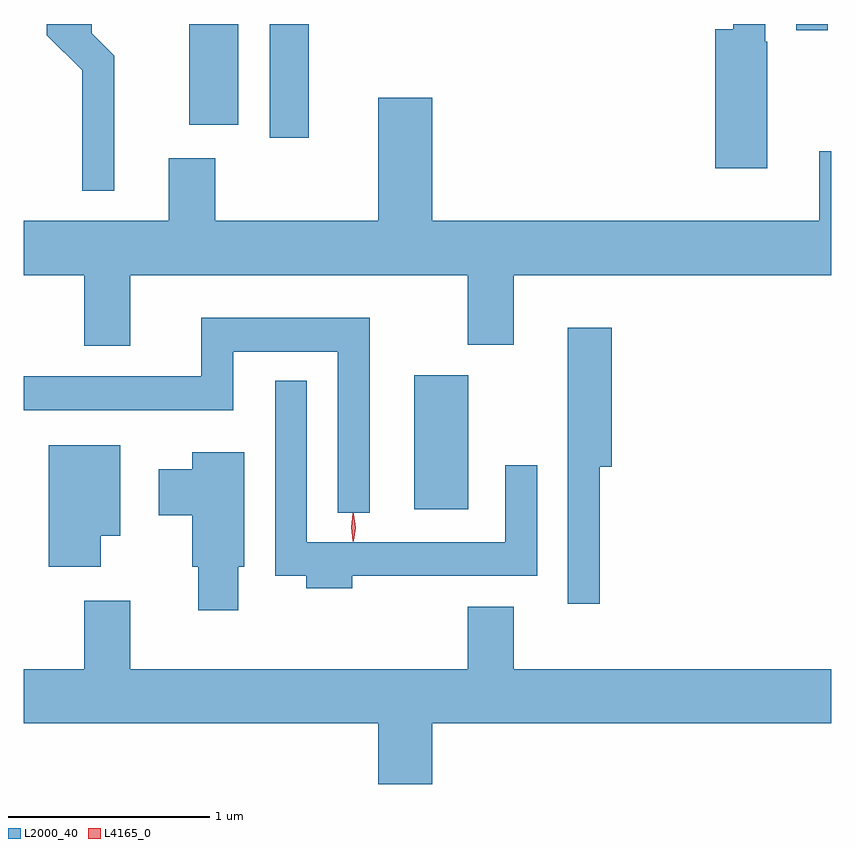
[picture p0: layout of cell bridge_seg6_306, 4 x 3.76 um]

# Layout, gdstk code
import gdstk
lib = gdstk.Library(unit=1e-6, precision=1e-09)
def R(c, l, rs):  # rectangles x0, y0, x1, y1
    for r in rs: c.add(gdstk.rectangle(r[:2], r[2:], *l))
def P(c, l, *ps):  # polygons
    for p in ps: c.add(gdstk.Polygon(p, *l))
L2000_40 = (2000, 40)
L4165_0 = (4165, 0)

bridge_seg6_306 = lib.new_cell('bridge_seg6_306')
R(bridge_seg6_306, L2000_40, [(1314.156,1535.556,1314.424,1536.219), (1313.441,1537.396,1313.634,1537.959), (1313.041,1537.461,1313.284,1537.959), (1316.046,1537.928,1316.204,1537.959)])
P(bridge_seg6_306, L2000_40, [(1312.669,1537.802),(1312.559,1537.912),(1312.559,1537.959),(1312.336,1537.959),(1312.336,1537.904),(1312.511,1537.729),(1312.511,1537.133),(1312.669,1537.133)],
  [(1315.904,1537.87),(1315.894,1537.87),(1315.894,1537.959),(1315.736,1537.959),(1315.736,1537.934),(1315.646,1537.934),(1315.646,1537.246),(1315.904,1537.246)],
  [(1312.749,1536.716),(1314.421,1536.716),(1314.421,1536.371),(1314.649,1536.371),(1314.649,1536.716),(1316.221,1536.716),(1316.221,1537.329),(1316.161,1537.329),(1316.161,1536.984),(1314.244,1536.984),(1314.244,1537.594),(1313.976,1537.594),(1313.976,1536.984),(1313.169,1536.984),(1313.169,1537.294),(1312.941,1537.294),(1312.941,1536.984),(1312.221,1536.984),(1312.221,1536.716),(1312.521,1536.716),(1312.521,1536.366),(1312.749,1536.366)],
  [(1313.934,1536.504),(1313.101,1536.504),(1313.101,1536.214),(1312.221,1536.214),(1312.221,1536.046),(1313.259,1536.046),(1313.259,1536.336),(1313.776,1536.336),(1313.776,1535.538),(1313.934,1535.538)],
  [(1315.074,1535.766),(1315.134,1535.766),(1315.134,1536.454),(1314.916,1536.454),(1314.916,1535.088),(1315.074,1535.088)],
  [(1313.849,1535.226),(1314.764,1535.226),(1314.764,1535.773),(1314.606,1535.773),(1314.606,1535.394),(1313.624,1535.394),(1313.624,1536.193),(1313.466,1536.193),(1313.466,1535.226),(1313.621,1535.226),(1313.621,1535.166),(1313.849,1535.166)],
  [(1312.604,1535.426),(1312.699,1535.426),(1312.699,1535.874),(1312.346,1535.874),(1312.346,1535.271),(1312.604,1535.271)],
  [(1313.284,1535.271),(1313.314,1535.271),(1313.314,1535.839),(1313.056,1535.839),(1313.056,1535.754),(1312.891,1535.754),(1312.891,1535.526),(1313.056,1535.526),(1313.056,1535.271),(1313.086,1535.271),(1313.086,1535.056),(1313.284,1535.056)],
  [(1314.244,1534.496),(1316.221,1534.496),(1316.221,1534.764),(1314.649,1534.764),(1314.649,1535.074),(1314.421,1535.074),(1314.421,1534.764),(1312.749,1534.764),(1312.749,1535.104),(1312.521,1535.104),(1312.521,1534.764),(1312.221,1534.764),(1312.221,1534.496),(1313.976,1534.496),(1313.976,1534.196),(1314.244,1534.196)])
P(bridge_seg6_306, L4165_0, [(1313.855,1535.399),(1313.854,1535.4),(1313.845,1535.466),(1313.854,1535.532),(1313.855,1535.533),(1313.856,1535.532),(1313.865,1535.466),(1313.856,1535.4)],
  [(1313.852,1535.397),(1313.843,1535.467),(1313.852,1535.536),(1313.853,1535.536),(1313.853,1535.536),(1313.863,1535.467),(1313.853,1535.397),(1313.853,1535.397)])

lib.write_gds('bridge_seg6_306.gds')
